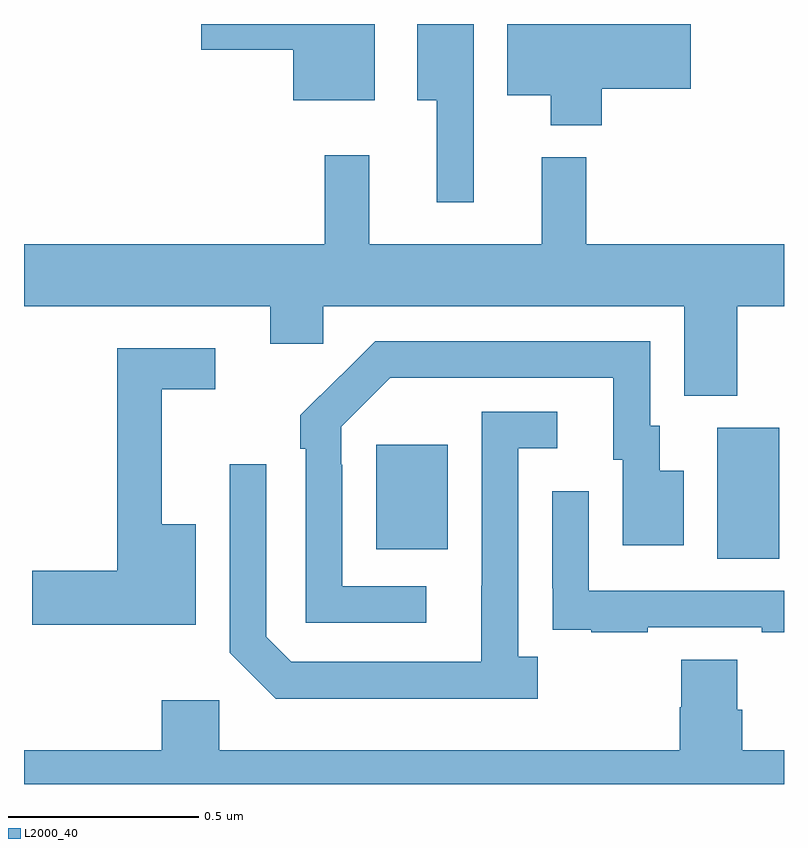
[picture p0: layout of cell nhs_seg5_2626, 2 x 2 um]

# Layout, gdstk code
import gdstk
lib = gdstk.Library(unit=1e-6, precision=1e-09)
def R(c, l, rs):  # rectangles x0, y0, x1, y1
    for r in rs: c.add(gdstk.rectangle(r[:2], r[2:], *l))
def P(c, l, *ps):  # polygons
    for p in ps: c.add(gdstk.Polygon(p, *l))
L2000_40 = (2000, 40)

nhs_seg5_2626 = lib.new_cell('nhs_seg5_2626')
R(nhs_seg5_2626, L2000_40, [(147.824,893.392,147.988,893.736), (146.927,893.417,147.115,893.692)])
P(nhs_seg5_2626, L2000_40, [(146.923,894.799),(146.466,894.799),(146.466,894.731),(146.708,894.731),(146.708,894.599),(146.923,894.599)],
  [(147.521,894.629),(147.755,894.629),(147.755,894.799),(147.272,894.799),(147.272,894.611),(147.386,894.611),(147.386,894.533),(147.521,894.533)],
  [(147.183,894.799),(147.035,894.799),(147.035,894.599),(147.086,894.599),(147.086,894.33),(147.183,894.33)],
  [(147.877,894.056),(148,894.056),(148,894.22),(147.479,894.22),(147.479,894.448),(147.362,894.448),(147.362,894.22),(146.909,894.22),(146.909,894.454),(146.791,894.454),(146.791,894.22),(146,894.22),(146,894.056),(146.648,894.056),(146.648,893.958),(146.787,893.958),(146.787,894.056),(147.737,894.056),(147.737,893.821),(147.877,893.821)],
  [(147.058,893.319),(146.838,893.319),(146.838,893.639),(146.835,893.639),(146.835,893.739),(146.964,893.868),(147.551,893.868),(147.551,893.652),(147.575,893.652),(147.575,893.427),(147.736,893.427),(147.736,893.623),(147.673,893.623),(147.673,893.742),(147.648,893.742),(147.648,893.964),(146.924,893.964),(146.833,893.873),(146.832,893.874),(146.727,893.769),(146.727,893.681),(146.742,893.681),(146.742,893.223),(147.058,893.223)],
  [(146.452,893.482),(146.363,893.482),(146.363,893.838),(146.503,893.838),(146.503,893.946),(146.245,893.946),(146.245,893.36),(146.022,893.36),(146.022,893.218),(146.452,893.218)],
  [(147.352,893.134),(147.3,893.134),(147.3,893.682),(147.403,893.682),(147.403,893.778),(147.204,893.778),(147.204,893.321),(147.203,893.321),(147.203,893.121),(146.703,893.121),(146.637,893.187),(146.637,893.641),(146.541,893.641),(146.541,893.145),(146.662,893.024),(147.352,893.024)],
  [(147.641,893.211),(147.941,893.211),(147.941,893.199),(148,893.199),(148,893.307),(147.486,893.307),(147.486,893.569),(147.39,893.569),(147.39,893.314),(147.391,893.314),(147.391,893.205),(147.493,893.205),(147.493,893.199),(147.641,893.199)],
  [(148,892.888),(147.89,892.888),(147.89,892.994),(147.877,892.994),(147.877,893.126),(147.73,893.126),(147.73,893.001),(147.725,893.001),(147.725,892.888),(146.514,892.888),(146.514,893.02),(146.363,893.02),(146.363,892.888),(146,892.888),(146,892.799),(148,892.799)])

lib.write_gds('nhs_seg5_2626.gds')
